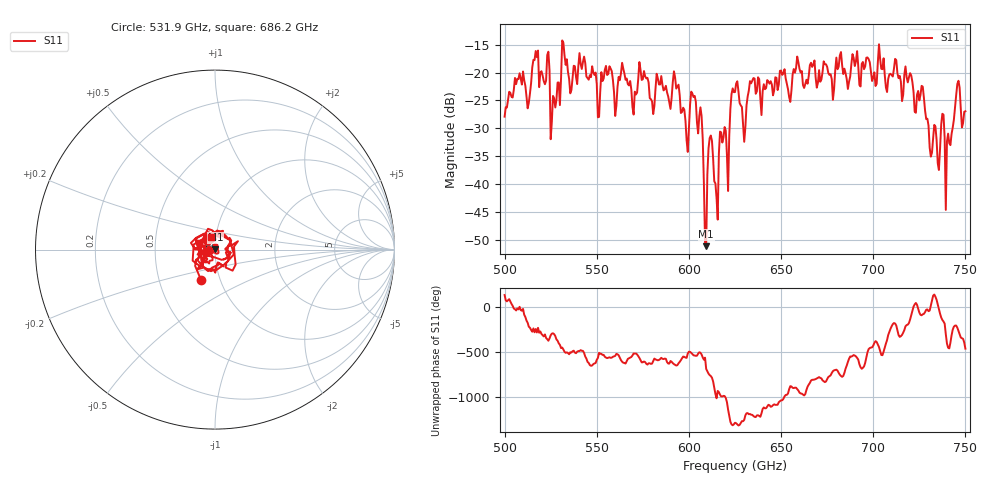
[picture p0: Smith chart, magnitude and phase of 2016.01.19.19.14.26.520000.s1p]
!Created with skrf (http://scikit-rf.org).
# GHz S RI R 50.0
!freq ReS11 ImS11
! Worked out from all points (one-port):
!   401 points, 500 GHz to 750 GHz, reference 50 ohm
!   lowest |S11| = -51.1 dB at 609.4 GHz (marker M1), VSWR 1.01, Z = 50.2 + j0.13 ohm
!   |S11| at or under -10 dB: start of sweep to end of sweep
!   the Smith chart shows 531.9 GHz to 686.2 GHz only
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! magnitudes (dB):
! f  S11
! 500 GHz  -27.9
! 506.9 GHz  -21.1
! 513.1 GHz  -25.4
! 516.9 GHz  -16.1
! 523.1 GHz  -16.8
! 526.2 GHz  -24.2
! 531.2 GHz  -14.2
! 550.6 GHz  -28.0
! 562.5 GHz  -21.4
! 593.8 GHz  -22.5
! 598.8 GHz  -32.2
! 601.9 GHz  -23.8
! 606.2 GHz  -26.2
! 609.4 GHz  -51.1
! 611.2 GHz  -31.8
! 615 GHz  -42.6
! 617.5 GHz  -30.7
! 625 GHz  -23.5
! 630 GHz  -32.4
! 634.4 GHz  -21.4
! 656.2 GHz  -20.4
! 687.5 GHz  -20.7
! 718.8 GHz  -21.8
! 735 GHz  -36.3
! 737.5 GHz  -27.4
! 740.6 GHz  -30.9
! 745.6 GHz  -22.0
! 750 GHz  -26.9
